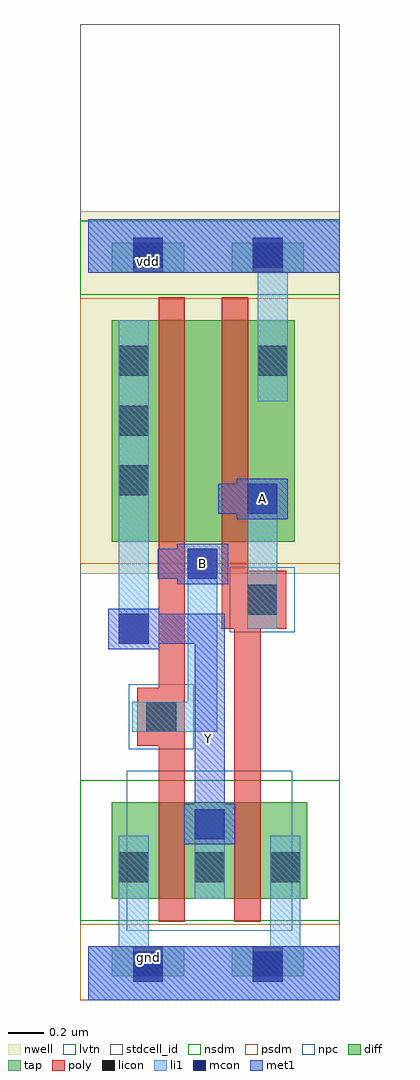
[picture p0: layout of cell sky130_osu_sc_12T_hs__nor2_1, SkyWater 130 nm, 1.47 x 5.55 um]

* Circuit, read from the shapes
.subckt sky130_osu_sc_12T_hs__nor2_1 A B Y gnd vdd
XM1 Y B gnd gnd sky130_fd_pr__nfet_01v8_lvt w=0.55 l=0.15
XM2 gnd A Y gnd sky130_fd_pr__nfet_01v8_lvt w=0.55 l=0.15
XM3 n1 B Y vdd sky130_fd_pr__pfet_01v8 w=1.26 l=0.15
XM4 vdd A n1 vdd sky130_fd_pr__pfet_01v8 w=1.26 l=0.15
.ends

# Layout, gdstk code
import gdstk
lib = gdstk.Library(unit=1e-6, precision=1e-09)
def R(c, l, rs):  # rectangles x0, y0, x1, y1
    for r in rs: c.add(gdstk.rectangle(r[:2], r[2:], *l))
def A(c, l, x, y, w, h, nx, ny, dx, dy):  # array of equal rectangles
    R(c, l, [(x+i*dx, y+j*dy, x+i*dx+w, y+j*dy+h) for i in range(nx) for j in range(ny)])
nwell = (64, 20)
diff = (65, 20)
tap = (65, 44)
poly = (66, 20)
licon = (66, 44)
li1 = (67, 20)
mcon = (67, 44)
met1 = (68, 20)
stdcell_id = (81, 4)
nsdm = (93, 44)
psdm = (94, 20)
npc = (95, 20)
lvtn = (125, 44)

sky130_osu_sc_12t_hs__no = lib.new_cell('sky130_osu_sc_12T_hs__nor2_1')
R(sky130_osu_sc_12t_hs__no, nwell, [(-0.045,2.425,1.43,4.485)])
R(sky130_osu_sc_12t_hs__no, diff, [(0.135,0.575,1.245,1.125), (0.135,2.605,1.175,3.865)])
R(sky130_osu_sc_12t_hs__no, tap, [(0.135,0.135,0.545,0.305), (0.815,0.135,1.225,0.305), (0.135,4.135,0.545,4.305), (0.815,4.135,1.225,4.305)])
R(sky130_osu_sc_12t_hs__no, poly, [(0.4,0.445,0.55,1.445), (0.83,0.445,0.98,2.11), (0.28,1.445,0.55,1.775), (0.4,1.775,0.55,3.995), (0.76,2.11,1.125,2.44), (0.76,2.44,0.91,3.995)])
A(sky130_osu_sc_12t_hs__no, licon, 0.175, 0.67, 0.17, 0.17, 3, 1, 0.43, 0)
A(sky130_osu_sc_12t_hs__no, licon, 0.175, 2.87, 0.17, 0.17, 1, 3, 0, 0.34)
R(sky130_osu_sc_12t_hs__no, licon, [(0.255,0.135,0.425,0.305), (0.935,0.135,1.105,0.305), (0.33,1.525,0.5,1.695), (0.905,2.19,1.075,2.36), (0.965,3.55,1.135,3.72), (0.255,4.135,0.425,4.305), (0.935,4.135,1.105,4.305)])
R(sky130_osu_sc_12t_hs__no, li1, [(0,0,1.43,0.305), (0.175,0.305,0.345,0.935), (1.035,0.305,1.205,0.935), (0.605,0.575,0.775,1.085), (0.25,1.525,0.735,1.695), (0.565,1.695,0.735,2.565), (0.175,2.025,0.345,3.865), (0.905,2.11,1.075,2.935), (0.965,3.405,1.135,4.135), (0,4.135,1.43,4.44)])
R(sky130_osu_sc_12t_hs__no, mcon, [(0.255,0.105,0.425,0.275), (0.935,0.105,1.105,0.275), (0.605,0.915,0.775,1.085), (0.175,2.025,0.345,2.195), (0.565,2.395,0.735,2.565), (0.905,2.765,1.075,2.935), (0.255,4.165,0.425,4.335), (0.935,4.165,1.105,4.335)])
R(sky130_osu_sc_12t_hs__no, met1, [(0,0,1.43,0.305), (0.545,0.885,0.835,1.115), (0.605,1.115,0.775,2.025), (0.115,1.995,0.405,2.025), (0.115,2.025,0.775,2.195), (0.115,2.195,0.405,2.225), (0.505,2.365,0.795,2.395), (0.395,2.395,0.795,2.565), (0.505,2.565,0.795,2.595), (0.845,2.735,1.135,2.765), (0.74,2.765,1.135,2.935), (0.845,2.935,1.135,2.965), (0,4.135,1.43,4.44)])
R(sky130_osu_sc_12t_hs__no, stdcell_id, [(-0.045,0,1.43,5.55)])
R(sky130_osu_sc_12t_hs__no, nsdm, [(-0.045,0.45,1.43,1.25), (-0.045,4.01,1.43,4.43)])
R(sky130_osu_sc_12t_hs__no, psdm, [(-0.045,0,1.43,0.43), (-0.045,2.48,1.43,3.99)])
R(sky130_osu_sc_12t_hs__no, npc, [(0.23,1.425,0.6,1.795), (0.805,2.09,1.175,2.46)])
R(sky130_osu_sc_12t_hs__no, lvtn, [(0.22,0.395,1.16,1.305)])
sky130_osu_sc_12t_hs__no.add(gdstk.Label('gnd', (0.34,0.24), layer=68, texttype=16))
sky130_osu_sc_12t_hs__no.add(gdstk.Label('vdd', (0.34,4.2), layer=68, texttype=16))
sky130_osu_sc_12t_hs__no.add(gdstk.Label('Y', (0.685,1.485), layer=68, texttype=5))
sky130_osu_sc_12t_hs__no.add(gdstk.Label('B', (0.65,2.48), layer=68, texttype=5))
sky130_osu_sc_12t_hs__no.add(gdstk.Label('A', (0.99,2.85), layer=68, texttype=5))

lib.write_gds('sky130_osu_sc_12T_hs__nor2_1.gds')
